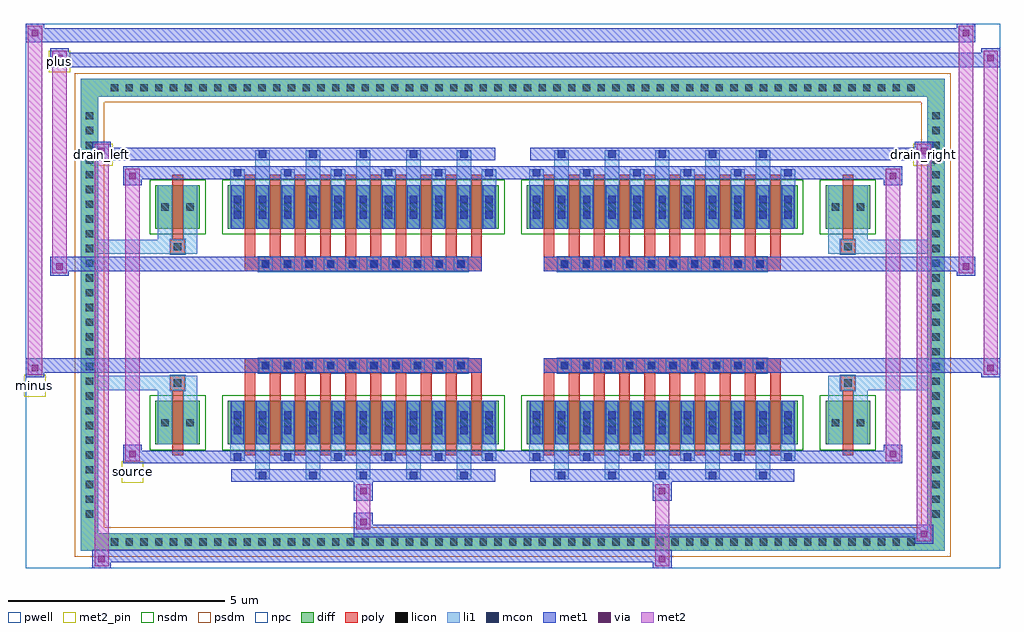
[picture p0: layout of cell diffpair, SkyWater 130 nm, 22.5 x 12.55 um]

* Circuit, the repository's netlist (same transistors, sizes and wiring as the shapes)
* NGSPICE file created from diffpair.ext - technology: sky130A

.subckt diffpair minus drain_right drain_left source plus
X0 drain_left plus source a_n1992_n1088# sky130_fd_pr__nfet_01v8 ad=0.165 pd=1.33 as=0.165 ps=1.33 w=1 l=0.25
X1 drain_left plus source a_n1992_n1088# sky130_fd_pr__nfet_01v8 ad=0.165 pd=1.33 as=0.165 ps=1.33 w=1 l=0.25
X2 source minus drain_right a_n1992_n1088# sky130_fd_pr__nfet_01v8 ad=0.165 pd=1.33 as=0.165 ps=1.33 w=1 l=0.25
X3 drain_left plus source a_n1992_n1088# sky130_fd_pr__nfet_01v8 ad=0.165 pd=1.33 as=0.39 ps=2.78 w=1 l=0.25
X4 source minus drain_right a_n1992_n1088# sky130_fd_pr__nfet_01v8 ad=0.165 pd=1.33 as=0.165 ps=1.33 w=1 l=0.25
X5 drain_left plus source a_n1992_n1088# sky130_fd_pr__nfet_01v8 ad=0.165 pd=1.33 as=0.165 ps=1.33 w=1 l=0.25
X6 source minus drain_right a_n1992_n1088# sky130_fd_pr__nfet_01v8 ad=0.165 pd=1.33 as=0.165 ps=1.33 w=1 l=0.25
X7 a_n1992_n1088# a_n1992_n1088# a_n1992_n1088# a_n1992_n1088# sky130_fd_pr__nfet_01v8 ad=0.39 pd=2.78 as=3.12 ps=22.24 w=1 l=0.25
X8 source minus drain_right a_n1992_n1088# sky130_fd_pr__nfet_01v8 ad=0.165 pd=1.33 as=0.165 ps=1.33 w=1 l=0.25
X9 source minus drain_right a_n1992_n1088# sky130_fd_pr__nfet_01v8 ad=0.165 pd=1.33 as=0.165 ps=1.33 w=1 l=0.25
X10 source minus drain_right a_n1992_n1088# sky130_fd_pr__nfet_01v8 ad=0.39 pd=2.78 as=0.165 ps=1.33 w=1 l=0.25
X11 source plus drain_left a_n1992_n1088# sky130_fd_pr__nfet_01v8 ad=0.39 pd=2.78 as=0.165 ps=1.33 w=1 l=0.25
X12 a_n1992_n1088# a_n1992_n1088# a_n1992_n1088# a_n1992_n1088# sky130_fd_pr__nfet_01v8 ad=0.39 pd=2.78 as=0 ps=0 w=1 l=0.25
X13 drain_right minus source a_n1992_n1088# sky130_fd_pr__nfet_01v8 ad=0.165 pd=1.33 as=0.165 ps=1.33 w=1 l=0.25
X14 source minus drain_right a_n1992_n1088# sky130_fd_pr__nfet_01v8 ad=0.165 pd=1.33 as=0.165 ps=1.33 w=1 l=0.25
X15 source minus drain_right a_n1992_n1088# sky130_fd_pr__nfet_01v8 ad=0.165 pd=1.33 as=0.165 ps=1.33 w=1 l=0.25
X16 source minus drain_right a_n1992_n1088# sky130_fd_pr__nfet_01v8 ad=0.165 pd=1.33 as=0.165 ps=1.33 w=1 l=0.25
X17 drain_right minus source a_n1992_n1088# sky130_fd_pr__nfet_01v8 ad=0.165 pd=1.33 as=0.39 ps=2.78 w=1 l=0.25
X18 drain_right minus source a_n1992_n1088# sky130_fd_pr__nfet_01v8 ad=0.165 pd=1.33 as=0.165 ps=1.33 w=1 l=0.25
X19 source minus drain_right a_n1992_n1088# sky130_fd_pr__nfet_01v8 ad=0.39 pd=2.78 as=0.165 ps=1.33 w=1 l=0.25
X20 source plus drain_left a_n1992_n1088# sky130_fd_pr__nfet_01v8 ad=0.165 pd=1.33 as=0.165 ps=1.33 w=1 l=0.25
X21 source plus drain_left a_n1992_n1088# sky130_fd_pr__nfet_01v8 ad=0.165 pd=1.33 as=0.165 ps=1.33 w=1 l=0.25
X22 source plus drain_left a_n1992_n1088# sky130_fd_pr__nfet_01v8 ad=0.165 pd=1.33 as=0.165 ps=1.33 w=1 l=0.25
X23 source plus drain_left a_n1992_n1088# sky130_fd_pr__nfet_01v8 ad=0.165 pd=1.33 as=0.165 ps=1.33 w=1 l=0.25
X24 drain_left plus source a_n1992_n1088# sky130_fd_pr__nfet_01v8 ad=0.165 pd=1.33 as=0.165 ps=1.33 w=1 l=0.25
X25 drain_left plus source a_n1992_n1088# sky130_fd_pr__nfet_01v8 ad=0.165 pd=1.33 as=0.39 ps=2.78 w=1 l=0.25
X26 drain_right minus source a_n1992_n1088# sky130_fd_pr__nfet_01v8 ad=0.165 pd=1.33 as=0.165 ps=1.33 w=1 l=0.25
X27 drain_left plus source a_n1992_n1088# sky130_fd_pr__nfet_01v8 ad=0.165 pd=1.33 as=0.165 ps=1.33 w=1 l=0.25
X28 source plus drain_left a_n1992_n1088# sky130_fd_pr__nfet_01v8 ad=0.165 pd=1.33 as=0.165 ps=1.33 w=1 l=0.25
X29 drain_right minus source a_n1992_n1088# sky130_fd_pr__nfet_01v8 ad=0.165 pd=1.33 as=0.39 ps=2.78 w=1 l=0.25
X30 drain_left plus source a_n1992_n1088# sky130_fd_pr__nfet_01v8 ad=0.165 pd=1.33 as=0.165 ps=1.33 w=1 l=0.25
X31 a_n1992_n1088# a_n1992_n1088# a_n1992_n1088# a_n1992_n1088# sky130_fd_pr__nfet_01v8 ad=0.39 pd=2.78 as=0 ps=0 w=1 l=0.25
X32 source plus drain_left a_n1992_n1088# sky130_fd_pr__nfet_01v8 ad=0.165 pd=1.33 as=0.165 ps=1.33 w=1 l=0.25
X33 a_n1992_n1088# a_n1992_n1088# a_n1992_n1088# a_n1992_n1088# sky130_fd_pr__nfet_01v8 ad=0.39 pd=2.78 as=0 ps=0 w=1 l=0.25
X34 source plus drain_left a_n1992_n1088# sky130_fd_pr__nfet_01v8 ad=0.165 pd=1.33 as=0.165 ps=1.33 w=1 l=0.25
X35 source plus drain_left a_n1992_n1088# sky130_fd_pr__nfet_01v8 ad=0.165 pd=1.33 as=0.165 ps=1.33 w=1 l=0.25
X36 drain_right minus source a_n1992_n1088# sky130_fd_pr__nfet_01v8 ad=0.165 pd=1.33 as=0.165 ps=1.33 w=1 l=0.25
X37 drain_right minus source a_n1992_n1088# sky130_fd_pr__nfet_01v8 ad=0.165 pd=1.33 as=0.165 ps=1.33 w=1 l=0.25
X38 source plus drain_left a_n1992_n1088# sky130_fd_pr__nfet_01v8 ad=0.39 pd=2.78 as=0.165 ps=1.33 w=1 l=0.25
X39 drain_right minus source a_n1992_n1088# sky130_fd_pr__nfet_01v8 ad=0.165 pd=1.33 as=0.165 ps=1.33 w=1 l=0.25
X40 drain_right minus source a_n1992_n1088# sky130_fd_pr__nfet_01v8 ad=0.165 pd=1.33 as=0.165 ps=1.33 w=1 l=0.25
X41 drain_left plus source a_n1992_n1088# sky130_fd_pr__nfet_01v8 ad=0.165 pd=1.33 as=0.165 ps=1.33 w=1 l=0.25
X42 drain_left plus source a_n1992_n1088# sky130_fd_pr__nfet_01v8 ad=0.165 pd=1.33 as=0.165 ps=1.33 w=1 l=0.25
X43 drain_right minus source a_n1992_n1088# sky130_fd_pr__nfet_01v8 ad=0.165 pd=1.33 as=0.165 ps=1.33 w=1 l=0.25
.ends

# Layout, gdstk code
import gdstk
lib = gdstk.Library(unit=1e-6, precision=5e-09)
def R(c, l, rs):  # rectangles x0, y0, x1, y1
    for r in rs: c.add(gdstk.rectangle(r[:2], r[2:], *l))
def A(c, l, x, y, w, h, nx, ny, dx, dy):  # array of equal rectangles
    R(c, l, [(x+i*dx, y+j*dy, x+i*dx+w, y+j*dy+h) for i in range(nx) for j in range(ny)])
def P(c, l, *ps):  # polygons
    for p in ps: c.add(gdstk.Polygon(p, *l))
pwell = (64, 44)
diff = (65, 20)
poly = (66, 20)
licon = (66, 44)
li1 = (67, 20)
mcon = (67, 44)
met1 = (68, 20)
via = (68, 44)
met2_pin = (69, 16)
met2 = (69, 20)
nsdm = (93, 44)
psdm = (94, 20)
npc = (95, 20)

diffpair = lib.new_cell('diffpair')
R(diffpair, pwell, [(-11.23,-5.84,11.23,6.71), (-8.55,-4.03,-0.01,-0.805), (0.01,-4.03,8.55,-0.805), (-8.55,0.805,-0.01,4.03), (0.01,0.805,8.55,4.03)])
A(diffpair, diff, -9.385, -5.44, 0.41, 0.41, 55, 2, 0.34, 10.47)
A(diffpair, diff, -9.96, -4.795, 0.41, 0.41, 1, 28, 0, 0.34)
A(diffpair, diff, 9.55, -4.795, 0.41, 0.41, 1, 28, 0, 0.34)
R(diffpair, diff, [(-9.385,-5.44,9.385,-5.03), (-9.96,-4.795,-9.55,4.795), (9.55,-4.795,9.96,4.795), (-8.24,-2.985,-7.21,-1.985), (-6.57,-2.985,-0.32,-1.985), (0.32,-2.985,6.57,-1.985), (7.21,-2.985,8.24,-1.985), (-8.24,1.985,-7.21,2.985), (-6.57,1.985,-0.32,2.985), (0.32,1.985,6.57,2.985), (7.21,1.985,8.24,2.985), (-9.385,5.03,9.385,5.44)])
P(diffpair, diff, [(9.96,5.44),(-9.96,5.44),(-9.96,-5.03),(-9.55,-5.03),(-9.55,5.03),(9.55,5.03),(9.55,-5.03),(-9.55,-5.03),(-9.96,-5.03),(-9.96,-5.44),(9.96,-5.44)])
A(diffpair, poly, -6.18, -3.235, 0.25, 1.5, 10, 2, 0.58, 4.97)
A(diffpair, poly, 0.71, -3.235, 0.25, 1.5, 10, 2, 0.58, 4.97)
A(diffpair, poly, -6.18, -1.735, 0.25, 0.4, 10, 2, 0.58, 3.07)
A(diffpair, poly, 0.71, -1.735, 0.25, 0.4, 10, 2, 0.58, 3.07)
A(diffpair, poly, -5.86, -1.335, 0.33, 0.33, 10, 2, 0.5, 2.34)
A(diffpair, poly, 1.03, -1.335, 0.33, 0.33, 10, 2, 0.5, 2.34)
R(diffpair, poly, [(-7.85,-3.235,-7.6,-1.735), (7.6,-3.235,7.85,-1.735), (-7.89,-1.735,-7.56,-1.405), (-7.89,-1.735,-7.56,-1.405), (7.56,-1.735,7.89,-1.405), (7.56,-1.735,7.89,-1.405), (-6.18,-1.335,-0.71,-1.005), (0.71,-1.335,6.18,-1.005), (-6.18,1.005,-0.71,1.335), (0.71,1.005,6.18,1.335), (-7.89,1.405,-7.56,1.735), (-7.89,1.405,-7.56,1.735), (7.56,1.405,7.89,1.735), (7.56,1.405,7.89,1.735), (-7.85,1.735,-7.6,3.235), (7.6,1.735,7.85,3.235)])
A(diffpair, licon, -9.265, -5.32, 0.17, 0.17, 55, 2, 0.34, 10.47)
A(diffpair, licon, -9.84, -4.675, 0.17, 0.17, 1, 28, 0, 0.34)
A(diffpair, licon, 9.67, -4.675, 0.17, 0.17, 1, 28, 0, 0.34)
A(diffpair, licon, -6.43, -2.57, 0.17, 0.17, 11, 2, 0.58, 4.97)
A(diffpair, licon, 0.46, -2.57, 0.17, 0.17, 11, 2, 0.58, 4.97)
A(diffpair, licon, -5.78, -1.255, 0.17, 0.17, 10, 2, 0.5, 2.34)
A(diffpair, licon, 1.11, -1.255, 0.17, 0.17, 10, 2, 0.5, 2.34)
R(diffpair, licon, [(-8.1,-2.57,-7.93,-2.4), (-7.52,-2.57,-7.35,-2.4), (7.35,-2.57,7.52,-2.4), (7.93,-2.57,8.1,-2.4), (-7.81,-1.655,-7.64,-1.485), (7.64,-1.655,7.81,-1.485), (-7.81,1.485,-7.64,1.655), (7.64,1.485,7.81,1.655), (-8.1,2.4,-7.93,2.57), (-7.52,2.4,-7.35,2.57), (7.35,2.4,7.52,2.57), (7.93,2.4,8.1,2.57)])
A(diffpair, li1, -9.345, -5.4, 0.33, 0.33, 55, 2, 0.34, 10.47)
A(diffpair, li1, -9.92, -4.755, 0.33, 0.33, 1, 28, 0, 0.34)
A(diffpair, li1, 9.59, -4.755, 0.33, 0.33, 1, 28, 0, 0.34)
A(diffpair, li1, -5.93, -3.79, 0.33, 0.805, 5, 2, 1.16, 6.775)
A(diffpair, li1, -5.85, -3.79, 0.17, 0.17, 5, 2, 1.16, 7.41)
A(diffpair, li1, 0.96, -3.79, 0.33, 0.805, 5, 2, 1.16, 6.775)
A(diffpair, li1, 1.04, -3.79, 0.17, 0.17, 5, 2, 1.16, 7.41)
A(diffpair, li1, -6.51, -3.36, 0.33, 0.375, 6, 2, 1.16, 6.345)
A(diffpair, li1, -6.43, -3.36, 0.17, 0.17, 6, 2, 1.16, 6.55)
A(diffpair, li1, 0.38, -3.36, 0.33, 0.375, 6, 2, 1.16, 6.345)
A(diffpair, li1, 0.46, -3.36, 0.17, 0.17, 6, 2, 1.16, 6.55)
A(diffpair, li1, -6.51, -2.985, 0.33, 1, 11, 2, 0.58, 4.97)
A(diffpair, li1, 0.38, -2.985, 0.33, 1, 11, 2, 0.58, 4.97)
A(diffpair, li1, -6.43, -2.75, 0.17, 0.17, 11, 2, 0.58, 0.36)
A(diffpair, li1, -6.43, -2.75, 0.17, 0.53, 11, 2, 0.58, 4.97)
A(diffpair, li1, 0.46, -2.75, 0.17, 0.17, 11, 2, 0.58, 0.36)
A(diffpair, li1, 0.46, -2.75, 0.17, 0.53, 11, 2, 0.58, 4.97)
A(diffpair, li1, -6.51, -2.65, 0.33, 0.33, 11, 2, 0.58, 4.97)
A(diffpair, li1, 0.38, -2.65, 0.33, 0.33, 11, 2, 0.58, 4.97)
A(diffpair, li1, -5.86, -1.335, 0.33, 0.33, 10, 2, 0.5, 2.34)
A(diffpair, li1, 1.03, -1.335, 0.33, 0.33, 10, 2, 0.5, 2.34)
A(diffpair, li1, -6.43, 2.22, 0.17, 0.17, 11, 2, 0.58, 0.36)
A(diffpair, li1, 0.46, 2.22, 0.17, 0.17, 11, 2, 0.58, 0.36)
R(diffpair, li1, [(-9.96,-5.44,-9.55,-5.03), (-9.96,-5.44,-9.55,-5.03), (-9.55,-5.44,9.55,-5.03), (9.55,-5.44,9.96,-5.03), (9.55,-5.44,9.96,-5.03), (-9.96,-5.03,-9.55,5.03), (9.55,-5.03,9.96,5.03), (-8.18,-2.985,-7.85,-1.985), (-7.6,-2.985,-7.27,-1.985), (7.27,-2.985,7.6,-1.985), (7.85,-2.985,8.18,-1.985), (-8.18,-2.65,-7.85,-2.32), (-7.6,-2.65,-7.27,-2.32), (7.27,-2.65,7.6,-2.32), (7.85,-2.65,8.18,-2.32), (-8.18,-1.985,-7.85,-1.405), (-7.6,-1.985,-7.27,-1.405), (7.27,-1.985,7.6,-1.405), (7.85,-1.985,8.18,-1.405), (-9.96,-1.735,-7.89,-1.405), (-8.18,-1.735,-7.89,-1.405), (-7.89,-1.735,-7.56,-1.405), (-7.56,-1.735,-7.27,-1.405), (7.27,-1.735,7.56,-1.405), (7.56,-1.735,7.89,-1.405), (7.56,-1.735,9.96,-1.405), (7.89,-1.735,8.18,-1.405), (-9.96,1.405,-7.89,1.735), (-8.18,1.405,-7.89,1.735), (-8.18,1.405,-7.85,1.985), (-7.89,1.405,-7.56,1.735), (-7.6,1.405,-7.27,1.985), (-7.56,1.405,-7.27,1.735), (7.27,1.405,7.56,1.735), (7.27,1.405,7.6,1.985), (7.56,1.405,7.89,1.735), (7.56,1.405,9.96,1.735), (7.85,1.405,8.18,1.985), (7.89,1.405,8.18,1.735), (-8.18,1.985,-7.85,2.985), (-7.6,1.985,-7.27,2.985), (7.27,1.985,7.6,2.985), (7.85,1.985,8.18,2.985), (-8.18,2.32,-7.85,2.65), (-7.6,2.32,-7.27,2.65), (7.27,2.32,7.6,2.65), (7.85,2.32,8.18,2.65), (-9.96,5.03,-9.55,5.44), (-9.96,5.03,-9.55,5.44), (-9.55,5.03,9.55,5.44), (9.55,5.03,9.96,5.44), (9.55,5.03,9.96,5.44)])
A(diffpair, mcon, -5.85, -3.79, 0.17, 0.17, 5, 2, 1.16, 7.41)
A(diffpair, mcon, 1.04, -3.79, 0.17, 0.17, 5, 2, 1.16, 7.41)
A(diffpair, mcon, -6.43, -3.36, 0.17, 0.17, 6, 2, 1.16, 6.55)
A(diffpair, mcon, 0.46, -3.36, 0.17, 0.17, 6, 2, 1.16, 6.55)
A(diffpair, mcon, -6.43, -2.75, 0.17, 0.17, 11, 2, 0.58, 0.36)
A(diffpair, mcon, 0.46, -2.75, 0.17, 0.17, 11, 2, 0.58, 0.36)
A(diffpair, mcon, -5.78, -1.255, 0.17, 0.17, 10, 2, 0.5, 2.34)
A(diffpair, mcon, 1.11, -1.255, 0.17, 0.17, 10, 2, 0.5, 2.34)
A(diffpair, mcon, -6.43, 2.22, 0.17, 0.17, 11, 2, 0.58, 0.36)
A(diffpair, mcon, 0.46, 2.22, 0.17, 0.17, 11, 2, 0.58, 0.36)
A(diffpair, met1, -5.91, -3.85, 0.29, 0.29, 5, 2, 1.16, 7.41)
A(diffpair, met1, 0.98, -3.85, 0.29, 0.29, 5, 2, 1.16, 7.41)
A(diffpair, met1, -6.49, -3.42, 0.29, 0.29, 6, 2, 1.16, 6.55)
A(diffpair, met1, 0.4, -3.42, 0.29, 0.29, 6, 2, 1.16, 6.55)
A(diffpair, met1, -6.49, -2.985, 0.29, 1, 11, 2, 0.58, 4.97)
A(diffpair, met1, 0.4, -2.985, 0.29, 1, 11, 2, 0.58, 4.97)
A(diffpair, met1, -6.49, -2.81, 0.29, 0.29, 11, 2, 0.58, 0.36)
A(diffpair, met1, 0.4, -2.81, 0.29, 0.29, 11, 2, 0.58, 0.36)
A(diffpair, met1, -5.84, -1.315, 0.29, 0.29, 10, 2, 0.5, 2.34)
A(diffpair, met1, 1.05, -1.315, 0.29, 0.29, 10, 2, 0.5, 2.34)
A(diffpair, met1, -6.49, 2.16, 0.29, 0.29, 11, 2, 0.58, 0.36)
A(diffpair, met1, 0.4, 2.16, 0.29, 0.29, 11, 2, 0.58, 0.36)
R(diffpair, met1, [(-9.69,-5.84,-9.26,-5.41), (3.23,-5.84,3.66,-5.41), (-9.69,-5.7,3.66,-5.41), (9.26,-5.27,9.69,-4.84), (-3.66,-5.13,9.69,-4.84), (-3.66,-4.99,-3.23,-4.56), (-3.66,-4.28,-3.23,-3.85), (3.23,-4.28,3.66,-3.85), (-6.49,-3.85,-0.4,-3.56), (0.4,-3.85,6.49,-3.56), (-8.98,-3.42,-8.55,-2.99), (-8.98,-3.42,-6.49,-3.13), (-6.49,-3.42,-0.4,-3.13), (-0.4,-3.42,0.4,-3.13), (0.4,-3.42,6.49,-3.13), (6.49,-3.42,8.98,-3.13), (8.55,-3.42,8.98,-2.99), (-11.23,-1.435,-10.8,-1.005), (10.8,-1.435,11.23,-1.005), (-11.23,-1.335,-0.71,-1.005), (-6.18,-1.335,-0.71,-1.005), (0.71,-1.335,6.18,-1.005), (0.71,-1.335,11.23,-1.005), (-10.66,0.905,-10.23,1.335), (10.23,0.905,10.66,1.335), (-10.66,1.005,-6.18,1.335), (-6.18,1.005,-0.71,1.335), (0.71,1.005,6.18,1.335), (6.18,1.005,10.66,1.335), (-8.98,2.99,-8.55,3.42), (8.55,2.99,8.98,3.42), (-8.98,3.13,-6.49,3.42), (-6.49,3.13,-0.4,3.42), (-0.4,3.13,0.4,3.42), (0.4,3.13,6.49,3.42), (6.49,3.13,8.98,3.42), (-9.69,3.56,-9.26,3.99), (-9.69,3.56,-6.49,3.85), (-6.49,3.56,-0.4,3.85), (0.4,3.56,6.49,3.85), (6.49,3.56,9.69,3.85), (9.26,3.56,9.69,3.99), (-10.66,5.71,-10.23,6.14), (-10.66,5.71,-8.55,6.04), (-8.55,5.71,8.55,6.04), (8.55,5.71,11.23,6.04), (10.8,5.71,11.23,6.14), (-11.23,6.28,-10.8,6.71), (-11.23,6.28,-8.55,6.61), (-8.55,6.28,8.55,6.61), (8.55,6.28,10.66,6.61), (10.23,6.28,10.66,6.71)])
R(diffpair, via, [(-9.55,-5.7,-9.4,-5.55), (3.37,-5.7,3.52,-5.55), (9.4,-5.13,9.55,-4.98), (-3.52,-4.85,-3.37,-4.7), (-3.52,-4.14,-3.37,-3.99), (3.37,-4.14,3.52,-3.99), (-8.84,-3.28,-8.69,-3.13), (8.69,-3.28,8.84,-3.13), (-11.09,-1.295,-10.94,-1.145), (10.94,-1.295,11.09,-1.145), (-10.52,1.045,-10.37,1.195), (10.37,1.045,10.52,1.195), (-8.84,3.13,-8.69,3.28), (8.69,3.13,8.84,3.28), (-9.55,3.7,-9.4,3.85), (9.4,3.7,9.55,3.85), (-10.52,5.85,-10.37,6), (10.94,5.85,11.09,6), (-11.09,6.42,-10.94,6.57), (10.37,6.42,10.52,6.57)])
R(diffpair, met2_pin, [(-9.015,-3.87,-8.515,-3.37), (-11.265,-1.885,-10.765,-1.385), (-9.725,3.44,-9.225,3.94), (9.225,3.44,9.725,3.94), (-10.695,5.59,-10.195,6.09)])
R(diffpair, met2, [(-9.64,-5.79,-9.31,-5.46), (-9.64,-5.79,-9.31,3.94), (3.28,-5.79,3.61,-5.46), (3.28,-5.46,3.61,-4.23), (9.31,-5.22,9.64,-4.89), (9.31,-5.22,9.64,3.94), (-3.61,-4.94,-3.28,-4.61), (-3.61,-4.61,-3.28,-4.23), (-3.61,-4.23,-3.28,-3.9), (3.28,-4.23,3.61,-3.9), (-8.93,-3.37,-8.6,-3.04), (-8.93,-3.37,-8.6,3.37), (8.6,-3.37,8.93,-3.04), (8.6,-3.37,8.93,3.37), (-11.18,-1.385,-10.85,-1.055), (-11.18,-1.385,-10.85,6.66), (10.85,-1.385,11.18,-1.055), (10.85,-1.385,11.18,6.09), (-10.61,0.955,-10.28,1.285), (-10.61,0.955,-10.28,6.09), (10.28,0.955,10.61,1.285), (10.28,0.955,10.61,6.66), (-8.93,3.04,-8.6,3.37), (8.6,3.04,8.93,3.37), (-9.64,3.61,-9.31,3.94), (9.31,3.61,9.64,3.94), (-10.61,5.76,-10.28,6.09), (10.85,5.76,11.18,6.09), (-11.18,6.33,-10.85,6.66), (10.28,6.33,10.61,6.66)])
P(diffpair, met2, [(11.18,-1.385),(11.18,-1.385),(11.18,-1.055),(11.18,-1.055)],
  [(11.18,5.76),(11.18,5.76),(11.18,6.09),(11.18,6.09)],
  [(-10.85,-1.385),(-10.85,-1.385),(-10.85,-1.055),(-10.85,-1.055)],
  [(-10.85,6.33),(-10.85,6.33),(-10.85,6.66),(-10.85,6.66)],
  [(10.61,0.955),(10.61,0.955),(10.61,1.285),(10.61,1.285)],
  [(10.61,6.33),(10.61,6.33),(10.61,6.66),(10.61,6.66)],
  [(-10.28,0.955),(-10.28,0.955),(-10.28,1.285),(-10.28,1.285)],
  [(-10.28,5.76),(-10.28,5.76),(-10.28,6.09),(-10.28,6.09)],
  [(-9.31,-5.79),(-9.31,-5.79),(-9.31,-5.46),(-9.31,-5.46)],
  [(-9.31,3.61),(-9.31,3.61),(-9.31,3.94),(-9.31,3.94)],
  [(9.64,-5.22),(9.64,-5.22),(9.64,-4.89),(9.64,-4.89)],
  [(9.64,3.61),(9.64,3.61),(9.64,3.94),(9.64,3.94)],
  [(-8.6,-3.37),(-8.6,-3.37),(-8.6,-3.04),(-8.6,-3.04)],
  [(-8.6,3.04),(-8.6,3.04),(-8.6,3.37),(-8.6,3.37)],
  [(8.93,-3.37),(8.93,-3.37),(8.93,-3.04),(8.93,-3.04)],
  [(8.93,3.04),(8.93,3.04),(8.93,3.37),(8.93,3.37)])
R(diffpair, nsdm, [(-8.37,-3.115,-7.08,-1.855), (-6.7,-3.115,-0.19,-1.855), (0.19,-3.115,6.7,-1.855), (7.08,-3.115,8.37,-1.855), (-8.37,1.855,-7.08,3.115), (-6.7,1.855,-0.19,3.115), (0.19,1.855,6.7,3.115), (7.08,1.855,8.37,3.115)])
P(diffpair, psdm, [(10.09,5.57),(-10.09,5.57),(-10.09,-4.9),(-9.42,-4.9),(-9.42,4.9),(9.42,4.9),(9.42,-4.9),(-9.42,-4.9),(-10.09,-4.9),(-10.09,-5.57),(10.09,-5.57)])
A(diffpair, npc, -5.88, -1.355, 0.37, 0.37, 10, 2, 0.5, 2.34)
A(diffpair, npc, 1.01, -1.355, 0.37, 0.37, 10, 2, 0.5, 2.34)
R(diffpair, npc, [(-7.91,-1.755,-7.54,-1.385), (7.54,-1.755,7.91,-1.385), (-5.88,-1.355,-5.01,-0.985), (-5.88,-1.355,-5.01,-0.985), (-5.38,-1.355,-4.51,-0.985), (-5.38,-1.355,-4.51,-0.985), (-4.88,-1.355,-4.01,-0.985), (-4.88,-1.355,-4.01,-0.985), (-4.38,-1.355,-3.51,-0.985), (-4.38,-1.355,-3.51,-0.985), (-3.88,-1.355,-3.01,-0.985), (-3.88,-1.355,-3.01,-0.985), (-3.38,-1.355,-2.51,-0.985), (-3.38,-1.355,-2.51,-0.985), (-2.88,-1.355,-2.01,-0.985), (-2.88,-1.355,-2.01,-0.985), (-2.38,-1.355,-1.51,-0.985), (-2.38,-1.355,-1.51,-0.985), (-1.88,-1.355,-1.01,-0.985), (-1.88,-1.355,-1.01,-0.985), (1.01,-1.355,1.88,-0.985), (1.01,-1.355,1.88,-0.985), (1.51,-1.355,2.38,-0.985), (1.51,-1.355,2.38,-0.985), (2.01,-1.355,2.88,-0.985), (2.01,-1.355,2.88,-0.985), (2.51,-1.355,3.38,-0.985), (2.51,-1.355,3.38,-0.985), (3.01,-1.355,3.88,-0.985), (3.01,-1.355,3.88,-0.985), (3.51,-1.355,4.38,-0.985), (3.51,-1.355,4.38,-0.985), (4.01,-1.355,4.88,-0.985), (4.01,-1.355,4.88,-0.985), (4.51,-1.355,5.38,-0.985), (4.51,-1.355,5.38,-0.985), (5.01,-1.355,5.88,-0.985), (5.01,-1.355,5.88,-0.985), (-5.88,0.985,-5.01,1.355), (-5.88,0.985,-5.01,1.355), (-5.38,0.985,-4.51,1.355), (-5.38,0.985,-4.51,1.355), (-4.88,0.985,-4.01,1.355), (-4.88,0.985,-4.01,1.355), (-4.38,0.985,-3.51,1.355), (-4.38,0.985,-3.51,1.355), (-3.88,0.985,-3.01,1.355), (-3.88,0.985,-3.01,1.355), (-3.38,0.985,-2.51,1.355), (-3.38,0.985,-2.51,1.355), (-2.88,0.985,-2.01,1.355), (-2.88,0.985,-2.01,1.355), (-2.38,0.985,-1.51,1.355), (-2.38,0.985,-1.51,1.355), (-1.88,0.985,-1.01,1.355), (-1.88,0.985,-1.01,1.355), (1.01,0.985,1.88,1.355), (1.01,0.985,1.88,1.355), (1.51,0.985,2.38,1.355), (1.51,0.985,2.38,1.355), (2.01,0.985,2.88,1.355), (2.01,0.985,2.88,1.355), (2.51,0.985,3.38,1.355), (2.51,0.985,3.38,1.355), (3.01,0.985,3.88,1.355), (3.01,0.985,3.88,1.355), (3.51,0.985,4.38,1.355), (3.51,0.985,4.38,1.355), (4.01,0.985,4.88,1.355), (4.01,0.985,4.88,1.355), (4.51,0.985,5.38,1.355), (4.51,0.985,5.38,1.355), (5.01,0.985,5.88,1.355), (5.01,0.985,5.88,1.355), (-7.91,1.385,-7.54,1.755), (7.54,1.385,7.91,1.755)])
diffpair.add(gdstk.Label('minus', (-11.015,-1.635), layer=69, texttype=5))
diffpair.add(gdstk.Label('drain_right', (9.475,3.69), layer=69, texttype=5))
diffpair.add(gdstk.Label('drain_left', (-9.475,3.69), layer=69, texttype=5))
diffpair.add(gdstk.Label('source', (-8.765,-3.62), layer=69, texttype=5))
diffpair.add(gdstk.Label('plus', (-10.445,5.84), layer=69, texttype=5))

lib.write_gds('diffpair.gds')
